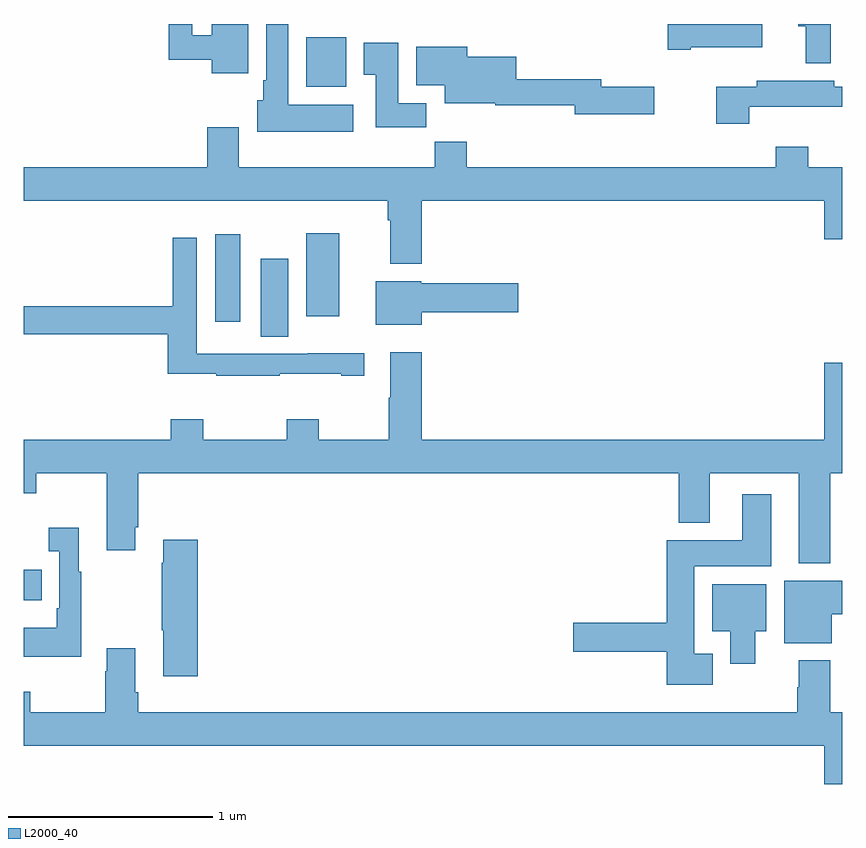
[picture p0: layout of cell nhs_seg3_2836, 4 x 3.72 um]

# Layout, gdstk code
import gdstk
lib = gdstk.Library(unit=1e-6, precision=1e-09)
def R(c, l, rs):  # rectangles x0, y0, x1, y1
    for r in rs: c.add(gdstk.rectangle(r[:2], r[2:], *l))
def P(c, l, *ps):  # polygons
    for p in ps: c.add(gdstk.Polygon(p, *l))
L2000_40 = (2000, 40)

nhs_seg3_2836 = lib.new_cell('nhs_seg3_2836')
R(nhs_seg3_2836, L2000_40, [(257,745.583,257.087,745.731), (258.158,746.872,258.292,747.253), (257.936,746.943,258.058,747.373), (258.38,746.97,258.541,747.376), (258.38,748.094,258.577,748.336)])
P(nhs_seg3_2836, L2000_40, [(258.61,748.006),(258.292,748.006),(258.292,748.4),(258.185,748.4),(258.185,748.126),(258.17,748.126),(258.17,748.026),(258.14,748.026),(258.14,747.872),(258.61,747.872)],
  [(260.944,748.4),(260.786,748.4),(260.786,748.388),(260.822,748.388),(260.822,748.208),(260.944,748.208)],
  [(260.26,748.286),(260.611,748.286),(260.611,748.4),(260.148,748.4),(260.148,748.274),(260.26,748.274)],
  [(258.097,748.4),(257.918,748.4),(257.918,748.345),(257.823,748.345),(257.823,748.4),(257.707,748.4),(257.707,748.224),(257.918,748.224),(257.918,748.16),(258.097,748.16)],
  [(258.968,748.012),(258.829,748.012),(258.829,748.309),(258.662,748.309),(258.662,748.153),(258.719,748.153),(258.719,747.894),(258.968,747.894)],
  [(260.083,748.094),(259.822,748.094),(259.822,748.13),(259.408,748.13),(259.408,748.24),(259.168,748.24),(259.168,748.288),(258.917,748.288),(258.917,748.1),(259.058,748.1),(259.058,748.013),(259.304,748.013),(259.304,748.002),(259.694,748.002),(259.694,747.959),(260.083,747.959)],
  [(260.546,747.995),(261,747.995),(261,748.092),(260.962,748.092),(260.962,748.123),(260.582,748.123),(260.582,748.094),(260.386,748.094),(260.386,747.912),(260.546,747.912)],
  [(258.944,747.536),(260.912,747.536),(260.912,747.348),(261,747.348),(261,747.7),(260.835,747.7),(260.835,747.799),(260.675,747.799),(260.675,747.7),(259.166,747.7),(259.166,747.824),(259.009,747.824),(259.009,747.7),(258.049,747.7),(258.049,747.895),(257.897,747.895),(257.897,747.7),(257,747.7),(257,747.536),(258.779,747.536),(258.779,747.44),(258.791,747.44),(258.791,747.227),(258.944,747.227)],
  [(258.251,746.689),(258.551,746.689),(258.551,746.679),(258.664,746.679),(258.664,746.789),(258.388,746.789),(258.388,746.787),(258.054,746.787),(258.054,746.788),(257.844,746.788),(257.844,747.355),(257.728,747.355),(257.728,747.02),(257,747.02),(257,746.884),(257.702,746.884),(257.702,746.689),(257.941,746.689),(257.941,746.679),(258.251,746.679)],
  [(258.946,746.99),(259.416,746.99),(259.416,747.132),(258.942,747.132),(258.942,747.142),(258.719,747.142),(258.719,746.93),(258.946,746.93)],
  [(260.942,746.204),(261,746.204),(261,746.743),(260.912,746.743),(260.912,746.368),(258.944,746.368),(258.944,746.794),(258.791,746.794),(258.791,746.573),(258.784,746.573),(258.784,746.368),(258.441,746.368),(258.441,746.467),(258.286,746.467),(258.286,746.368),(257.877,746.368),(257.877,746.467),(257.717,746.467),(257.717,746.368),(257,746.368),(257,746.105),(257.061,746.105),(257.061,746.204),(257.405,746.204),(257.405,745.827),(257.545,745.827),(257.545,745.939),(257.558,745.939),(257.558,746.204),(260.201,746.204),(260.201,745.961),(260.353,745.961),(260.353,746.204),(260.789,746.204),(260.789,745.763),(260.942,745.763)],
  [(260.368,745.321),(260.278,745.321),(260.278,745.748),(260.653,745.748),(260.653,746.101),(260.513,746.101),(260.513,745.876),(260.144,745.876),(260.144,745.472),(259.686,745.472),(259.686,745.33),(260.144,745.33),(260.144,745.169),(260.368,745.169)],
  [(257.281,745.723),(257.269,745.723),(257.269,745.936),(257.121,745.936),(257.121,745.823),(257.172,745.823),(257.172,745.543),(257.16,745.543),(257.16,745.447),(257,745.447),(257,745.307),(257.281,745.307)],
  [(257.849,745.879),(257.681,745.879),(257.681,745.766),(257.674,745.766),(257.674,745.435),(257.681,745.435),(257.681,745.212),(257.849,745.212)],
  [(260.95,745.513),(261,745.513),(261,745.678),(260.717,745.678),(260.717,745.373),(260.95,745.373)],
  [(260.575,745.43),(260.629,745.43),(260.629,745.66),(260.366,745.66),(260.366,745.43),(260.453,745.43),(260.453,745.272),(260.575,745.272)],
  [(261,745.036),(260.942,745.036),(260.942,745.288),(260.789,745.288),(260.789,745.157),(260.782,745.157),(260.782,745.036),(257.558,745.036),(257.558,745.132),(257.545,745.132),(257.545,745.348),(257.405,745.348),(257.405,745.235),(257.398,745.235),(257.398,745.036),(257.031,745.036),(257.031,745.135),(257,745.135),(257,744.872),(260.912,744.872),(260.912,744.684),(261,744.684)])

lib.write_gds('nhs_seg3_2836.gds')
